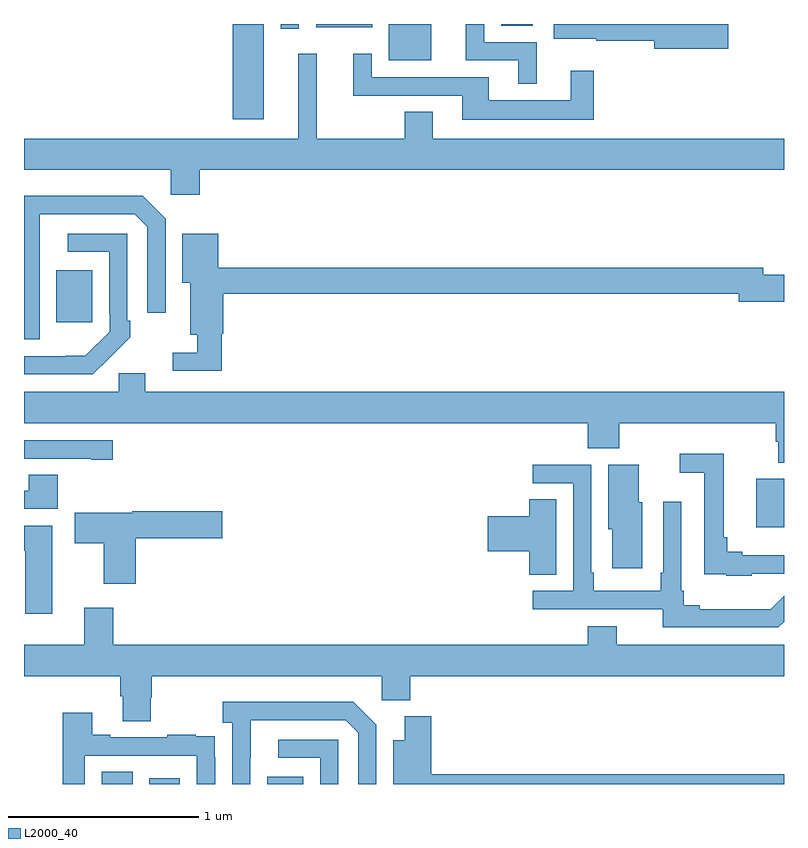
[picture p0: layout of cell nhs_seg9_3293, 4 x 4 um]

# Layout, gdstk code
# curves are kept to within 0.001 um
import gdstk
lib = gdstk.Library(unit=1e-6, precision=1e-09)
def R(c, l, rs):  # rectangles x0, y0, x1, y1
    for r in rs: c.add(gdstk.rectangle(r[:2], r[2:], *l))
def P(c, l, *ps):  # polygons
    for p in ps: c.add(gdstk.Polygon(p, *l))
L2000_40 = (2000, 40)

nhs_seg9_3293 = lib.new_cell('nhs_seg9_3293')
R(nhs_seg9_3293, L2000_40, [(299.408,1214.5,299.572,1214.564), (299.66,1214.5,299.821,1214.53), (300.281,1214.5,300.469,1214.539), (302.855,1215.852,303,1216.107), (299.171,1216.929,299.359,1217.203), (300.098,1218,300.262,1218.5), (300.92,1218.308,301.144,1218.5), (300.351,1218.474,300.447,1218.5), (300.539,1218.482,300.832,1218.5), (301.511,1218.49,301.678,1218.5)])
P(nhs_seg9_3293, L2000_40, [(301.699,1218.405),(301.422,1218.405),(301.422,1218.5),(301.325,1218.5),(301.325,1218.309),(301.601,1218.309),(301.601,1218.185),(301.699,1218.185)],
  [(302.707,1218.5),(301.787,1218.5),(301.787,1218.422),(302.013,1218.422),(302.013,1218.412),(302.318,1218.412),(302.318,1218.37),(302.707,1218.37)],
  [(299.924,1217.732),(303,1217.732),(303,1217.896),(301.15,1217.896),(301.15,1218.038),(301.003,1218.038),(301.003,1217.896),(300.542,1217.896),(300.542,1218.343),(300.443,1218.343),(300.443,1217.896),(299,1217.896),(299,1217.732),(299.772,1217.732),(299.772,1217.601),(299.924,1217.601)],
  [(301.999,1218.253),(301.877,1218.253),(301.877,1218.1),(301.447,1218.1),(301.447,1218.219),(300.831,1218.219),(300.831,1218.343),(300.734,1218.343),(300.734,1218.123),(301.307,1218.123),(301.307,1217.996),(301.999,1217.996)],
  [(299.082,1217.299),(299.083,1217.299),(299.083,1217.499),(299.583,1217.499),(299.649,1217.433),(299.649,1216.98),(299.745,1216.98),(299.745,1217.475),(299.624,1217.596),(299,1217.596),(299,1216.842),(299.082,1216.842)],
  [(299.453,1216.747),(299.454,1216.746),(299.559,1216.851),(299.559,1216.939),(299.544,1216.939),(299.544,1217.397),(299.229,1217.397),(299.229,1217.301),(299.448,1217.301),(299.448,1216.981),(299.451,1216.981),(299.451,1216.881),(299.323,1216.753),(299,1216.752),(299,1216.656),(299.362,1216.656)],
  [(300.041,1216.869),(300.049,1216.869),(300.049,1217.08),(302.762,1217.08),(302.762,1217.038),(303,1217.038),(303,1217.18),(302.89,1217.18),(302.89,1217.216),(300.022,1217.216),(300.022,1217.395),(299.834,1217.395),(299.834,1217.138),(299.876,1217.138),(299.876,1216.865),(299.913,1216.865),(299.913,1216.77),(299.784,1216.77),(299.784,1216.674),(300.041,1216.674)],
  [(303,1216.564),(299.638,1216.564),(299.638,1216.662),(299.499,1216.662),(299.499,1216.564),(299,1216.564),(299,1216.4),(301.967,1216.4),(301.967,1216.266),(302.132,1216.266),(302.132,1216.4),(302.957,1216.4),(302.957,1216.302),(302.969,1216.302),(302.969,1216.192),(303,1216.192)],
  [(299.467,1216.308),(299,1216.308),(299,1216.212),(299.354,1216.212),(299.354,1216.207),(299.467,1216.207)],
  [(302.829,1215.606),(303,1215.606),(303,1215.703),(302.779,1215.703),(302.779,1215.722),(302.701,1215.722),(302.701,1215.799),(302.683,1215.799),(302.683,1216.237),(302.451,1216.237),(302.451,1216.139),(302.579,1216.139),(302.579,1215.605),(302.697,1215.605),(302.697,1215.596),(302.829,1215.596)],
  [(302.254,1215.984),(302.236,1215.984),(302.236,1216.18),(302.075,1216.18),(302.075,1215.84),(302.096,1215.84),(302.096,1215.636),(302.254,1215.636)],
  [(303,1215.354),(303,1215.492),(302.929,1215.421),(302.557,1215.421),(302.557,1215.44),(302.473,1215.44),(302.473,1215.517),(302.46,1215.517),(302.46,1215.985),(302.364,1215.985),(302.364,1215.613),(302.352,1215.613),(302.352,1215.516),(301.999,1215.516),(301.999,1215.613),(301.986,1215.613),(301.986,1216.179),(301.677,1216.179),(301.677,1216.083),(301.89,1216.083),(301.89,1215.516),(301.677,1215.516),(301.677,1215.42),(302.362,1215.42),(302.362,1215.324),(302.97,1215.324)],
  [(299.177,1216.127),(299.024,1216.127),(299.024,1216.044),(299,1216.044),(299,1215.948),(299.177,1215.948)],
  [(301.801,1215.998),(301.658,1215.998),(301.658,1215.908),(301.44,1215.908),(301.44,1215.725),(301.658,1215.725),(301.658,1215.601),(301.801,1215.601)],
  [(299.588,1215.794),(300.043,1215.794),(300.043,1215.936),(299.571,1215.936),(299.571,1215.928),(299.268,1215.928),(299.268,1215.766),(299.42,1215.766),(299.42,1215.555),(299.588,1215.555)],
  [(299.149,1215.859),(299,1215.859),(299,1215.728),(299.006,1215.728),(299.006,1215.396),(299.149,1215.396)],
  [(299.667,1214.955),(299.672,1214.955),(299.672,1215.068),(300.882,1215.068),(300.882,1214.942),(301.034,1214.942),(301.034,1215.068),(303,1215.068),(303,1215.232),(302.119,1215.232),(302.119,1215.331),(301.967,1215.331),(301.967,1215.232),(299.471,1215.232),(299.471,1215.427),(299.318,1215.427),(299.318,1215.232),(299,1215.232),(299,1215.068),(299.507,1215.068),(299.507,1214.962),(299.519,1214.962),(299.519,1214.83),(299.667,1214.83)],
  [(300.192,1214.635),(300.193,1214.835),(300.693,1214.835),(300.759,1214.769),(300.759,1214.5),(300.855,1214.5),(300.855,1214.811),(300.734,1214.932),(300.045,1214.932),(300.045,1214.822),(300.096,1214.822),(300.096,1214.5),(300.192,1214.5)],
  [(299.319,1214.649),(299.91,1214.649),(299.91,1214.5),(300.006,1214.5),(300.006,1214.642),(300.005,1214.642),(300.005,1214.751),(299.903,1214.751),(299.903,1214.758),(299.755,1214.758),(299.755,1214.745),(299.455,1214.745),(299.455,1214.758),(299.359,1214.758),(299.359,1214.875),(299.203,1214.875),(299.203,1214.5),(299.319,1214.5)],
  [(303,1214.552),(301.144,1214.552),(301.144,1214.857),(301.004,1214.857),(301.004,1214.731),(300.944,1214.731),(300.944,1214.5),(303,1214.5)],
  [(300.654,1214.733),(300.339,1214.733),(300.339,1214.637),(300.558,1214.637),(300.558,1214.5),(300.654,1214.5)])

lib.write_gds('nhs_seg9_3293.gds')
